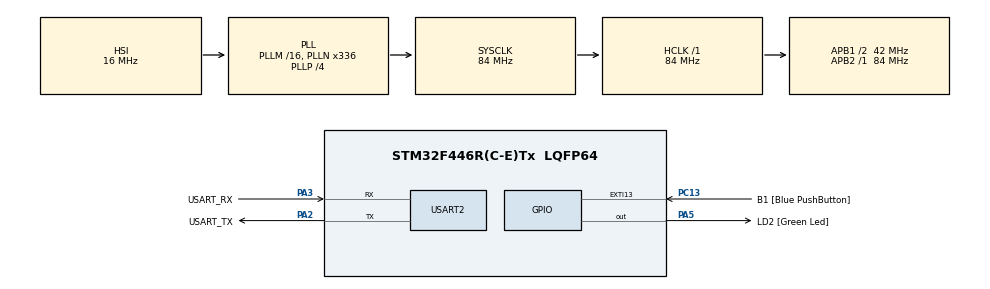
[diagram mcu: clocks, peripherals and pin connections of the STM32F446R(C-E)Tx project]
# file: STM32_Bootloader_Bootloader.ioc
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Mcu.Family=STM32F4
Mcu.Name=STM32F446R(C-E)Tx
Mcu.Package=LQFP64
NVIC.EXTI15_10_IRQn=true\:0\:0\:false\:false\:true\:true\:true\:true
NVIC.PriorityGroup=NVIC_PRIORITYGROUP_0
PA13.GPIO_Label=TMS
PA13.Mode=Serial_Wire
PA13.Signal=SYS_JTMS-SWDIO
PA14.GPIO_Label=TCK
PA14.Mode=Serial_Wire
PA14.Signal=SYS_JTCK-SWCLK
PA2.GPIO_Label=USART_TX
PA2.Mode=Asynchronous
PA2.Signal=USART2_TX
PA3.GPIO_Label=USART_RX
PA3.Mode=Asynchronous
PA3.Signal=USART2_RX
PA5.GPIO_Label=LD2 [Green Led]
PA5.Signal=GPIO_Output
PB3.GPIO_Label=SWO
PB3.Signal=SYS_JTDO-SWO
PC13.GPIO_Label=B1 [Blue PushButton]
PC13.GPIO_ModeDefaultEXTI=GPIO_MODE_IT_FALLING
PC13.Signal=GPXTI13
PC14-OSC32_IN.Mode=LSE-External-Oscillator
PC14-OSC32_IN.Signal=RCC_OSC32_IN
PC15-OSC32_OUT.Mode=LSE-External-Oscillator
PC15-OSC32_OUT.Signal=RCC_OSC32_OUT
PH0-OSC_IN.Mode=HSE-External-Oscillator
PH0-OSC_IN.Signal=RCC_OSC_IN
PH1-OSC_OUT.Mode=HSE-External-Oscillator
PH1-OSC_OUT.Signal=RCC_OSC_OUT
ProjectManager.HeapSize=0x200
ProjectManager.StackSize=0x400
ProjectManager.TargetToolchain=CMake
RCC.48MHZClocksFreq_Value=84000000
RCC.AHBFreq_Value=84000000
RCC.APB1CLKDivider=RCC_HCLK_DIV2
RCC.APB1Freq_Value=42000000
RCC.APB1TimFreq_Value=84000000
RCC.APB2Freq_Value=84000000
RCC.APB2TimFreq_Value=84000000
RCC.CortexFreq_Value=84000000
RCC.FLatency-AdvancedSettings=FLASH_LATENCY_2
RCC.HCLKFreq_Value=84000000
RCC.HSE_VALUE=8000000
RCC.HSI_VALUE=16000000
RCC.PLLN=336
RCC.PLLP=RCC_PLLP_DIV4
RCC.SYSCLKFreq_VALUE=84000000
RCC.SYSCLKSource=RCC_SYSCLKSOURCE_PLLCLK
RCC.USBFreq_Value=168000000
RCC.VCOOutputFreq_Value=336000000
USART2.VirtualMode=VM_ASYNC
VP_CRC_VS_CRC.Mode=CRC_Activate
board=NUCLEO-F446RE

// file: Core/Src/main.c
/* USER CODE BEGIN Header */
/**
  ******************************************************************************
  * @file           : main.c
  * @brief          : Main program body
  ******************************************************************************
  * @attention
  *
  * Copyright (c) 2025 STMicroelectronics.
  * All rights reserved.
  *
  * This software is licensed under terms that can be found in the LICENSE file
  * in the root directory of this software component.
  * If no LICENSE file comes with this software, it is provided AS-IS.
  *
  ******************************************************************************
  */
/* USER CODE END Header */
#include "main.h"
#include "crc.h"
#include "usart.h"
#include "gpio.h"

/* USER CODE BEGIN Includes */
#include <stdio.h>
#include <stdbool.h>
/* USER CODE END Includes */

/* USER CODE BEGIN PV */
bool buttonPressed = false;
/* USER CODE END PV */

void SystemClock_Config(void);

/* USER CODE BEGIN 0 */
void deinit_peripherals() {
  HAL_CRC_DeInit(&hcrc);
  HAL_UART_DeInit(&huart2);
  HAL_NVIC_DisableIRQ(B1_EXTI_IRQn);
  HAL_GPIO_DeInit(LD2_GPIO_Port, LD2_Pin);
  HAL_GPIO_DeInit(B1_GPIO_Port, B1_Pin);
  HAL_RCC_DeInit();
  HAL_DeInit();

  SysTick->CTRL = 0;
  SysTick->LOAD = 0;
  SysTick->VAL = 0;
}
/* USER CODE END 0 */

int main(void)
{

  /* MCU Configuration--------------------------------------------------------*/

  /* Reset of all peripherals, Initializes the Flash interface and the Systick. */
  HAL_Init();

  /* Configure the system clock */
  SystemClock_Config();

  /* Initialize all configured peripherals */
  MX_GPIO_Init();
  MX_USART2_UART_Init();
  MX_CRC_Init();
  /* USER CODE BEGIN 2 */
  printf("bootloader_started\r\n");
  /* USER CODE END 2 */

  /* Infinite loop */
  while (1)
  {

    /* USER CODE BEGIN 3 */
    if (buttonPressed) {
      buttonPressed = false;
      printf("bootloader_jumping_to_application\r\n");
      // jump to application
    }
  }
  /* USER CODE END 3 */
}

void SystemClock_Config(void)
{
  RCC_OscInitTypeDef RCC_OscInitStruct = {0};
  RCC_ClkInitTypeDef RCC_ClkInitStruct = {0};

  /** Configure the main internal regulator output voltage
  */
  __HAL_RCC_PWR_CLK_ENABLE();
  __HAL_PWR_VOLTAGESCALING_CONFIG(PWR_REGULATOR_VOLTAGE_SCALE3);

  /** Initializes the RCC Oscillators according to the specified parameters
  * in the RCC_OscInitTypeDef structure.
  */
  RCC_OscInitStruct.OscillatorType = RCC_OSCILLATORTYPE_HSI;
  RCC_OscInitStruct.HSIState = RCC_HSI_ON;
  RCC_OscInitStruct.HSICalibrationValue = RCC_HSICALIBRATION_DEFAULT;
  RCC_OscInitStruct.PLL.PLLState = RCC_PLL_ON;
  RCC_OscInitStruct.PLL.PLLSource = RCC_PLLSOURCE_HSI;
  RCC_OscInitStruct.PLL.PLLM = 16;
  RCC_OscInitStruct.PLL.PLLN = 336;
  RCC_OscInitStruct.PLL.PLLP = RCC_PLLP_DIV4;
  RCC_OscInitStruct.PLL.PLLQ = 2;
  RCC_OscInitStruct.PLL.PLLR = 2;
  if (HAL_RCC_OscConfig(&RCC_OscInitStruct) != HAL_OK)
  {
    Error_Handler();
  }

  /** Initializes the CPU, AHB and APB buses clocks
  */
  RCC_ClkInitStruct.ClockType = RCC_CLOCKTYPE_HCLK|RCC_CLOCKTYPE_SYSCLK
                              |RCC_CLOCKTYPE_PCLK1|RCC_CLOCKTYPE_PCLK2;
  RCC_ClkInitStruct.SYSCLKSource = RCC_SYSCLKSOURCE_PLLCLK;
  RCC_ClkInitStruct.AHBCLKDivider = RCC_SYSCLK_DIV1;
  RCC_ClkInitStruct.APB1CLKDivider = RCC_HCLK_DIV2;
  RCC_ClkInitStruct.APB2CLKDivider = RCC_HCLK_DIV1;

  if (HAL_RCC_ClockConfig(&RCC_ClkInitStruct, FLASH_LATENCY_2) != HAL_OK)
  {
    Error_Handler();
  }
}

/* USER CODE BEGIN 4 */
int _write(int file, char* ptr, int len) {
  HAL_UART_Transmit(&huart2, (uint8_t*) ptr, len, HAL_MAX_DELAY);
  return len;
}

void HAL_GPIO_EXTI_Callback(uint16_t pin) {
  if (pin == B1_Pin) {
    buttonPressed = true;
  }
}
/* USER CODE END 4 */

void Error_Handler(void)
{
  __disable_irq();
  while (1)
  {
  }
}
